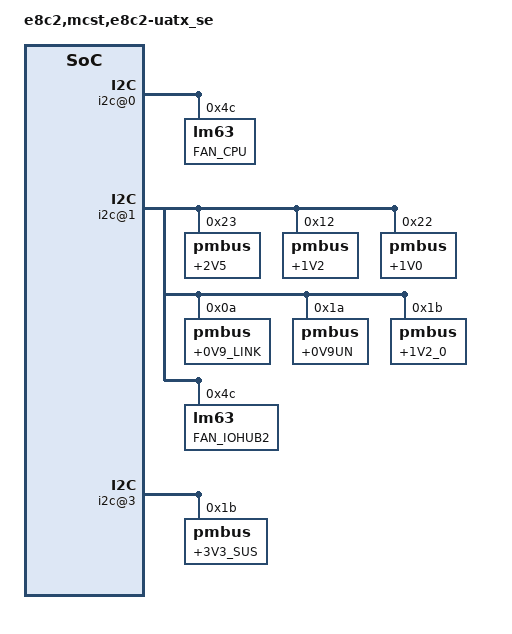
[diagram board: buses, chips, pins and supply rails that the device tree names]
/*
 * E8C2-uATX/SE
 * LYUI.469555.098 ver.1 / ver.2
 *
 */
/dts-v1/;

/*#include <dt-bindings/input/input.h>*/

/ {
	/* version = ""; */
	model = "e8c2,mcst,e8c2-uatx_se";
	compatible = "mcst,e8c2-uatx_se";
	#address-cells = <1>;
	#size-cells = <0>;

	/* IOHUB2 I2C */
	l_i2c@0 {
		#address-cells = <1>;
		#size-cells = <0>;
		reg = <0>;
		compatible = "l_i2c";
		label = "iohub2 i2c";

		i2c@0 {
			#address-cells = <1>;
			#size-cells = <0>;
			reg = <0>;

			lm96163@4c {
				/* hwmon/lm63.ko (DD22:LM96163CISD) */
				compatible = "lm63";
				reg = <0x4c>;
				label = "FAN_CPU";
				/* trivial-devices */

				temp1_label = "Internal diode";
				temp2_label = "External diode";
			};

			/* (X45..X48) DDR4 DIMMs: 0x18 0x1A 0x1C 0x1E */
			/* (X52) "MNGR" I2C1_ISO */
		};

		i2c@1 {
			#address-cells = <1>;
			#size-cells = <0>;
			reg = <1>;

			/* config SENSORS_PMBUS */
			pdt012@23 {
				/* hwmon/pmbus/pmbus.ko (DA4:PDT012A0X3-SRZ) */
				compatible = "pmbus";
				reg = <0x23>;
				label = "+2V5";
			};
			mdt040@12 {
				/* ver1: hwmon/pmbus/pmbus.ko (DA8:UDT020A0X3-SRZ) */
				/* ver2: hwmon/pmbus/pmbus.ko (DA8:MDT040A0X3-SRPHZ) */
				compatible = "pmbus";
				reg = <0x12>;
				label = "+1V2";
			};
			pdt012@22 {
				/* hwmon/pmbus/pmbus.ko (DA5:PDT012A0X3-SRZ) */
				compatible = "pmbus";
				reg = <0x22>;
				label = "+1V0";
			};
			pdt012@0A {
				/* hwmon/pmbus/pmbus.ko (DA12:PDT012A0X3-SRZ) */
				compatible = "pmbus";
				reg = <0x0A>;
				label = "+0V9_LINK";
			};
			udt020@1A {
				/* hwmon/pmbus/pmbus.ko (DA10:UDT020A0X3-SRZ) */
				compatible = "pmbus";
				reg = <0x1A>;
				label = "+0V9UN";
			};
			pdt003@1B {
				/* hwmon/pmbus/pmbus.ko (DA7:PDT003A0X3-SRZ) */
				compatible = "pmbus";
				reg = <0x1B>;
				label = "+1V2_0";
			};

			lm96163@4c {
				/* hwmon/lm63.ko (DD23:LM96163CISD) */
				compatible = "lm63";
				reg = <0x4c>;
				label = "FAN_IOHUB2";
				/* trivial-devices */

				temp1_label = "Internal diode";
				temp2_label = "IOHUB2 TERM";
			};

			/* (X52) "MNGR" I2C3_ISO */
		};

		i2c@2 {
			#address-cells = <1>;
			#size-cells = <0>;
			reg = <2>;

			/* (X6..X9) PCIe/PCI */
			/* (X52) "MNGR" I2C2_ISO */
		};

		i2c@3 {
			#address-cells = <1>;
			#size-cells = <0>;
			reg = <3>;

			/* config SENSORS_PMBUS */
			pdt012@1B {
				/* hwmon/pmbus/pmbus.ko (DA19:PDT012A0X3-SRZ) */
				compatible = "pmbus";
				reg = <0x1B>;
				label = "+3V3_SUS";
			};

			/* (X52) "MNGR" I2C4_ISO */
			/* [DD26]24FC128-I/ST(EEPROM)@0x57 "FRUID" */
		};
	};

	/* IOHUB2 SPI */
	l_spi@0 {
		#address-cells = <1>;
		#size-cells = <0>;
		compatible = "l_spi";
		reg = <0>;
		label = "iohub2 spi";

		boot@0 {
			/* (DD20:S25FL128SAGNFI001) */
			compatible = "mcst,boot";
			reg = <0>;
			spi-max-frequency = <25000000>;
		};
		rtc-cy14b101p@1 {
			/* (DD19:CY14B101PA-SFXI) */
			compatible = "rtc-cy14b101p";
			reg = <1>;
			spi-max-frequency = <12500000>;
		};
	};

	/* l_gpio@%d */
	/*
	 * I2C3_ALERT - [DD2]1991VG2YA - GPIO15
	 * I2C2_ALERT - [DD2]1991VG2YA - none!!!(16)
	 * I2C1_ALERT - [DD2]1991VG2YA - GPIO17
	 * I2C0_ALERT - [DD2]1991VG2YA - GPIO18
	 */
};
